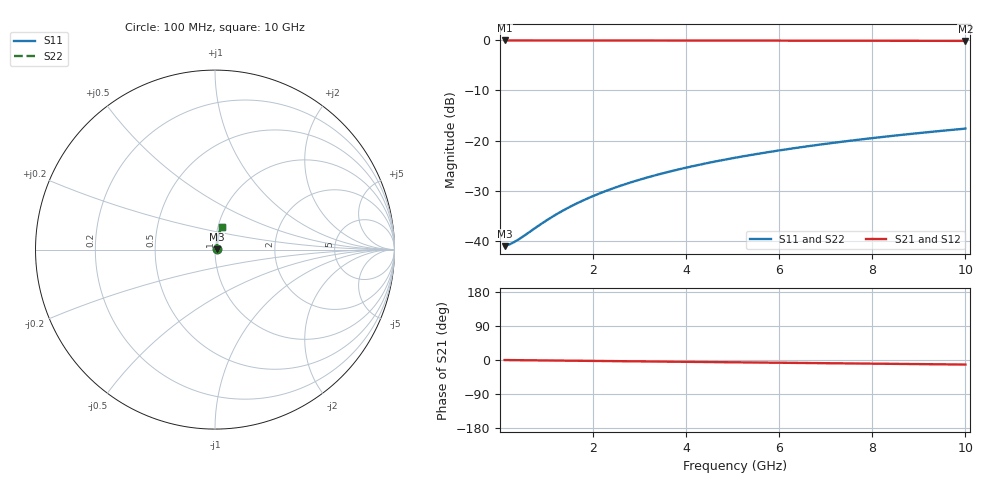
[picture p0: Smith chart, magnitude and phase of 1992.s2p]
# Hz S RI R 50.00
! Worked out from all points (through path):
!   100 points, 100 MHz to 10 GHz, reference 50 ohm
!   highest |S21| = -0.08 dB at 100 MHz (marker M1); lowest = -0.2 dB at 10 GHz (marker M2)
!   group delay of S21, straight-line fit = 3.34 ps
!   lowest |S11| = -40.9 dB at 100 MHz (marker M3), VSWR 1.02, Z = 50.9 + j0.134 ohm
!   |S11| at or under -10 dB: start of sweep to end of sweep
!   |S22| runs from -40.9 to -17.6 dB; largest |S21 - S12| = 0
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1e8  0.00887 0.00131  0.9911 -0.00209  0.9911 -0.00209  0.00887 0.00131
2e8  0.00893 0.00263  0.9911 -0.00417  0.9911 -0.00417  0.00893 0.00263
3e8  0.00899 0.00394  0.991 -0.00626  0.991 -0.00626  0.00899 0.00394
4e8  0.00904 0.00525  0.9909 -0.00834  0.9909 -0.00834  0.00904 0.00525
9e8  0.00934 0.0118  0.9906 -0.0188  0.9906 -0.0188  0.00934 0.0118
1.2e9  0.00957 0.0157  0.9904 -0.025  0.9904 -0.025  0.00957 0.0157
1.5e9  0.00983 0.0197  0.9901 -0.0313  0.9901 -0.0313  0.00983 0.0197
1.8e9  0.0101 0.0236  0.9897 -0.0375  0.9897 -0.0375  0.0101 0.0236
2.1e9  0.0105 0.0275  0.9894 -0.0437  0.9894 -0.0437  0.0105 0.0275
2.5e9  0.011 0.0327  0.9887 -0.0521  0.9887 -0.0521  0.011 0.0327
2.9e9  0.0117 0.0379  0.988 -0.0604  0.988 -0.0604  0.0117 0.0379
3.4e9  0.0126 0.0444  0.987 -0.0707  0.987 -0.0707  0.0126 0.0444
3.8e9  0.0134 0.0496  0.9861 -0.079  0.9861 -0.079  0.0134 0.0496
4.2e9  0.0143 0.0548  0.9851 -0.0872  0.9851 -0.0872  0.0143 0.0548
4.6e9  0.0153 0.0599  0.984 -0.0955  0.984 -0.0955  0.0153 0.0599
5.1e9  0.0167 0.0663  0.9825 -0.1057  0.9825 -0.1057  0.0167 0.0663
5.9e9  0.0191 0.0765  0.9798 -0.1221  0.9798 -0.1221  0.0191 0.0765
6.7e9  0.0219 0.0865  0.9767 -0.1384  0.9767 -0.1384  0.0219 0.0865
7.5e9  0.025 0.0965  0.9732 -0.1545  0.9732 -0.1545  0.025 0.0965
8.4e9  0.0289 0.1075  0.9689 -0.1725  0.9689 -0.1725  0.0289 0.1075
9.2e9  0.0327 0.1172  0.9647 -0.1884  0.9647 -0.1884  0.0327 0.1172
1e10  0.0368 0.1267  0.9601 -0.2042  0.9601 -0.2042  0.0368 0.1267
